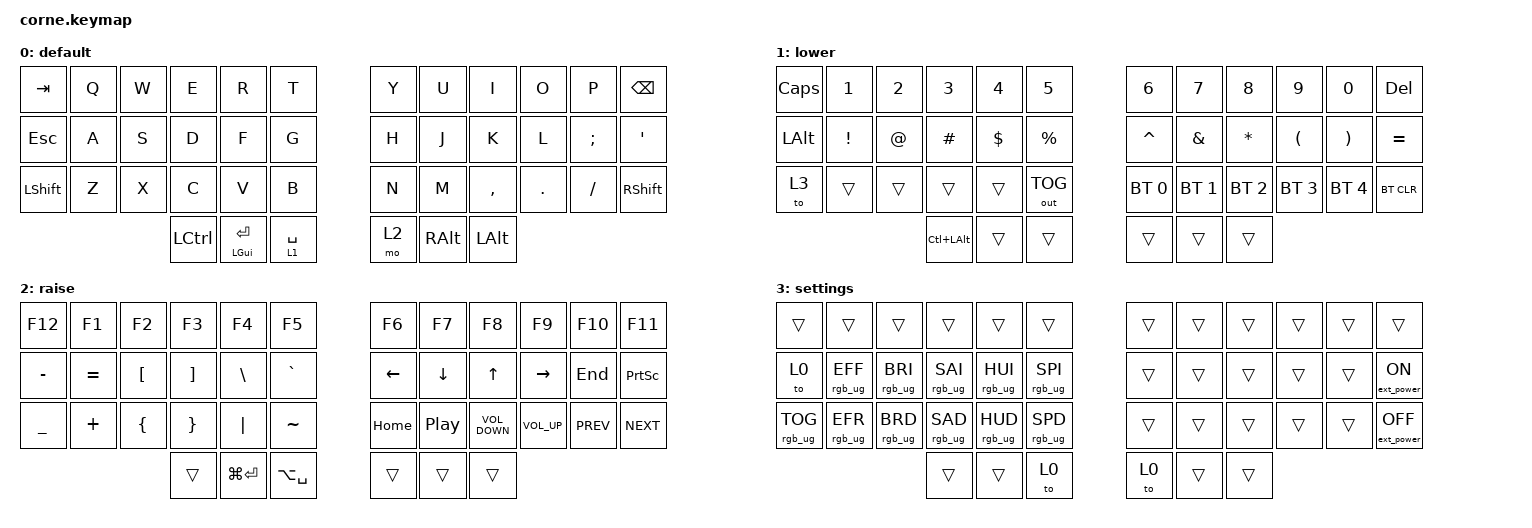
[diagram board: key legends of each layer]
/*
 * Copyright (c) 2020 The ZMK Contributors
 *
 * SPDX-License-Identifier: MIT
 */

#include <dt-bindings/led/led.h>
#include <behaviors.dtsi>
#include <dt-bindings/zmk/bt.h>
#include <dt-bindings/zmk/ext_power.h>
#include <dt-bindings/zmk/keys.h>
#include <dt-bindings/zmk/outputs.h>
#include <dt-bindings/zmk/rgb.h>

&pinctrl {
    spi3_default: spi3_default {
        group1 { psels = <NRF_PSEL(SPIM_MOSI, 0, 6)>; };
    };

    spi3_sleep: spi3_sleep {
        group1 {
            psels = <NRF_PSEL(SPIM_MOSI, 0, 6)>;
            low-power-enable;
        };
    };
};

&spi3 {
    compatible = "nordic,nrf-spim";
    status = "okay";
    pinctrl-0 = <&spi3_default>;
    pinctrl-1 = <&spi3_sleep>;
    pinctrl-names = "default", "sleep";

    led_strip: ws2812@0 {
        compatible = "worldsemi,ws2812-spi";
        label = "WS2812";

        /* SPI */

        reg = <0>; /* ignored, but necessary for SPI bindings */
        spi-max-frequency = <4000000>;

        /* WS2812 */

        chain-length = <27>; /* arbitrary; change at will */
        spi-one-frame = <0x70>;
        spi-zero-frame = <0x40>;
        color-mapping = <LED_COLOR_ID_GREEN LED_COLOR_ID_RED LED_COLOR_ID_BLUE>;
    };
};

/ {
    chosen { zmk,underglow = &led_strip; };
};

#define LOWER 1
#define UPPER 2

/ {
    macros {
        daj_chrupka: daj_chrupka {
            compatible = "zmk,behavior-macro";
            #binding-cells = <0>;
            bindings = <&none &kp LS(D) &kp A &kp J &kp SPACE &kp C &kp H &kp R &kp U &kp P &kp K &kp A>;
            label = "DAJ_CHRUPKA";
        };
    };

    keymap {
        compatible = "zmk,keymap";

        default_layer {
            // -----------------------------------------------------------------------------------------
            // |  TAB |  Q  |  W  |  E  |  R  |  T  |       |  Y  |  U   |  I  |  O  |  P  | BKSP |
            // | ESC  |  A  |  S  |  D  |  F  |  G  |       |  H  |  J   |  K  |  L  |  ;  |  '   |
            // | SHFT |  Z  |  X  |  C  |  V  |  B  |       |  N  |  M   |  ,  |  .  |  /  | RSHIFT |
            //         | LCTRL | LGUI(ENT) | LWR(SPACE)|  | RISE | ALT | BKSP |

            bindings = <
&kp TAB    &kp Q  &kp W  &kp E      &kp R         &kp T          &kp Y  &kp U     &kp I      &kp O    &kp P     &kp BSPC
&kp ESC    &kp A  &kp S  &kp D      &kp F         &kp G          &kp H  &kp J     &kp K      &kp L    &kp SEMI  &kp SQT
&kp LSHFT  &kp Z  &kp X  &kp C      &kp V         &kp B          &kp N  &kp M     &kp COMMA  &kp DOT  &kp FSLH  &kp RSHFT
                         &kp LCTRL  &mt LGUI RET  &lt 1 SPACE    &mo 2  &kp RALT  &kp LALT
            >;

            label = "default";
        };

        lower_layer {
            // -----------------------------------------------------------------------------------------
            // |CAPS |  1  |  2  |  3  |  4  |  5  |   |  6  |  7  |  8  |  9  |  0  | DEL |
            // |LALT |  !  |  @  |  #  |  $  |  %  |   |  ^  |  &  |  *  |  (  |  )  |  =  |
            // |     |     |     |     |    |USB/BT|   | BT0 | BT1 | BT2 | BT3 | BT4 |BTCLR|   
            //                 |LC(LALT)|     |     | |     |     |     |

            bindings = <
&kp CAPS  &kp N1    &kp N2  &kp N3        &kp N4    &kp N5          &kp N6        &kp N7        &kp N8        &kp N9        &kp N0        &kp DEL
&kp LALT  &kp EXCL  &kp AT  &kp HASH      &kp DLLR  &kp PRCNT       &kp CARET     &kp AMPS      &kp STAR      &kp LPAR      &kp RPAR      &kp EQUAL
&to 3     &trans    &trans  &trans        &trans    &out OUT_TOG    &bt BT_SEL 0  &bt BT_SEL 1  &bt BT_SEL 2  &bt BT_SEL 3  &bt BT_SEL 4  &bt BT_CLR
                            &kp LC(LALT)  &trans    &trans          &trans        &trans        &trans
            >;

            label = "lower";
        };

        raise_layer {
            // -----------------------------------------------------------------------------------------
            // | F12 | F1  | F2  | F3  | F4  | F5  |   | F6  | F7  | F8  | F9  | F10 | F11 |
            // |  -  |  =  |  [  |  ]  |  \  |  `  |   | LFT | DWN |  UP | RGT |HOME | END  | 
            // |  _  |  +  |  {  |  }  | "|" |  ~  |   |PLAY |VOL- |VOL+ |MUTE | NXT |PRTSCR|
            //                    |     |LGUI(RET)|ALT(SPC)| |     |     |     |

            bindings = <
&kp F12    &kp F1     &kp F2    &kp F3    &kp F4       &kp F5           &kp F6    &kp F7    &kp F8             &kp F9        &kp F10     &kp F11
&kp MINUS  &kp EQUAL  &kp LBKT  &kp RBKT  &kp BSLH     &kp GRAVE        &kp LEFT  &kp DOWN  &kp UP             &kp RIGHT     &kp END     &kp PRINTSCREEN
&kp UNDER  &kp PLUS   &kp LBRC  &kp RBRC  &kp PIPE     &kp TILDE        &kp HOME  &kp C_PP  &kp C_VOLUME_DOWN  &kp C_VOL_UP  &kp C_PREV  &kp C_NEXT
                                &trans    &kp LG(RET)  &kp LA(SPACE)    &trans    &trans    &trans
            >;

            label = "raise";
        };

        settings_layer {
            bindings = <
&trans           &trans           &trans           &trans           &trans           &trans             &trans  &trans  &trans  &trans  &trans  &trans
&to 0            &rgb_ug RGB_EFF  &rgb_ug RGB_BRI  &rgb_ug RGB_SAI  &rgb_ug RGB_HUI  &rgb_ug RGB_SPI    &trans  &trans  &trans  &trans  &trans  &ext_power EP_ON
&rgb_ug RGB_TOG  &rgb_ug RGB_EFR  &rgb_ug RGB_BRD  &rgb_ug RGB_SAD  &rgb_ug RGB_HUD  &rgb_ug RGB_SPD    &trans  &trans  &trans  &trans  &trans  &ext_power EP_OFF
                                                   &trans           &trans           &to 0              &to 0   &trans  &trans
            >;

            label = "settings";
        };
    };
};
